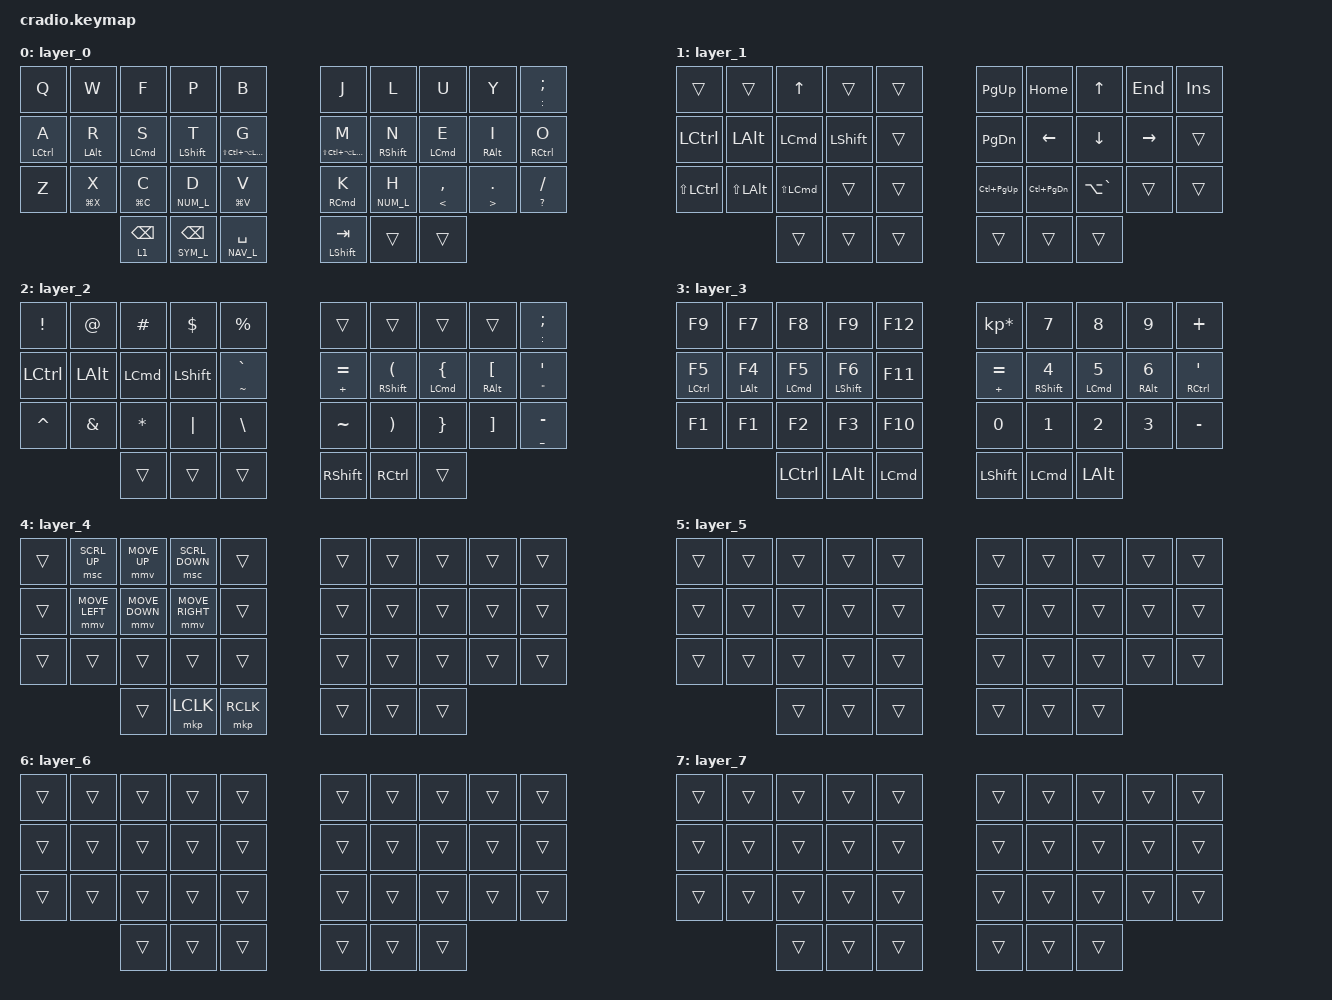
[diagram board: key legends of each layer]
/*
 * Copyright (c) 2020 The ZMK Contributors
 *
 * SPDX-License-Identifier: MIT
 */
#include <dt-bindings/zmk/mouse.h>
#include <behaviors.dtsi>
#include <dt-bindings/zmk/bt.h>
#include <dt-bindings/zmk/keys.h>
#include <dt-bindings/zmk/outputs.h>

#define BASE_L 0
#define NAV_L  1
#define SYM_L  2
#define NUM_L  3

// hyper and meh keys
#define HYP LS(LC(LA(LGUI)))
#define MEH LS(LC(LALT))

&mt {
    tapping-term-ms = <180>;
    flavor = "tap-preferred";
};

&sk {
    release-after-ms = <2000>;
    quick-release;
};

/ {
    combos {
        compatible = "zmk,combos";

        combo_esc {
            key-positions = <1 2>;
            timeout-ms = <50>;
            bindings = <&kp ESC>;
            layers = <BASE_L>;
        };

        combo_enter {
            key-positions = <27 28>;
            timeout-ms = <50>;
            bindings = <&kp ENTER>;
            layers = <BASE_L>;
        };

        combo_chord {
            key-positions = <11 12>;
            timeout-ms = <50>;
            bindings = <&kp LG(SPACE)>;
            layers = <BASE_L>;
        };

        // left_bkt {
        //     bindings = <&kp LBKT>;
        //     key-positions = <3 2>;
        //     timeout-ms = <50>;
        // };

        // right_bkt {
        //     bindings = <&kp RBKT>;
        //     key-positions = <6 7>;
        //     timeout-ms = <50>;
        // };

        // left_par {
        //     bindings = <&kp LEFT_PARENTHESIS>;
        //     key-positions = <12 13>;
        //     timeout-ms = <50>;
        // };

        // right_par {
        //     bindings = <&kp RIGHT_PARENTHESIS>;
        //     key-positions = <16 17>;
        //     timeout-ms = <50>;
        // };

        // left_brace {
        //     bindings = <&kp LEFT_BRACE>;
        //     key-positions = <23 22>;
        //     timeout-ms = <50>;
        // };

        // right_brace {
        //     bindings = <&kp RIGHT_BRACE>;
        //     key-positions = <26 27>;
        //     timeout-ms = <50>;
        // };

        // bac {
        //     bindings = <&kp BACKSLASH>;
        //     key-positions = <4 5>;
        // };

        // pipe {
        //     bindings = <&kp PIPE>;
        //     key-positions = <14 15>;
        // };
    };

    behaviors {
        hm: homerow_mods {
            compatible = "zmk,behavior-hold-tap";
            label = "HOMEROW_MODS";
            #binding-cells = <2>;
            tapping-term-ms = <180>;
            quick_tap_ms = <0>;
            flavor = "tap-preferred";
            bindings = <&kp>, <&kp>;

            quick-tap-ms = <180>;
            global-quick-tap;
        };

        ltq: ltq {
            compatible = "zmk,behavior-hold-tap";
            label = "LTQ";
            #binding-cells = <2>;
            tapping-term-ms = <180>;
            quick_tap_ms = <0>;
            flavor = "hold-preferred";
            bindings = <&mo>, <&kp>;

            quick-tap-ms = <180>;
            global-quick-tap;
        };

        as: as {
            compatible = "zmk,behavior-hold-tap";
            label = "AUTO_SHIFT";
            bindings = <&kp>, <&kp>;

            #binding-cells = <2>;
            tapping-term-ms = <135>;
            quick-tap-ms = <0>;
            flavor = "tap-preferred";
        };
    };

    keymap {
        compatible = "zmk,keymap";

        layer_0 {
            bindings = <
&kp Q          &kp W          &kp F         &kp P           &kp B                     &kp J          &kp L              &kp U                  &kp Y                    &as COLON SEMICOLON
&hm LCTRL A    &hm LALT R     &hm LCMD S    &hm LSHIFT T    &hm HYP G                 &hm HYP M      &hm RIGHT_SHIFT N  &hm LCMD E             &hm RIGHT_ALT I          &hm RCTRL O
&kp Z          &mt LG(X) X    &mt LG(C) C   &lt NUM_L D     &mt LG(V) V               &hm RCMD K     &lt NUM_L H        &as LESS_THAN COMMA    &as GREATER_THAN PERIOD  &as QUESTION SLASH
        &ltq 1 BACKSPACE      &lt SYM_L BACKSPACE    &lt NAV_L SPACE                  &mt LSHIFT TAB     &trans  &trans
            >;
        };

        layer_1{
            bindings = <
&trans        &trans         &kp UP           &trans      &trans             &kp PG_UP        &kp HOME        &kp UP          &kp END     &kp INSERT
&kp LCTRL     &kp LALT       &kp LCMD         &kp LSHIFT  &trans             &kp PG_DN        &kp LEFT        &kp DOWN        &kp RIGHT   &trans
&kp LS(LCTRL) &kp LS(LALT)   &kp LS(LCMD)     &trans      &trans             &kp LC(PG_UP)    &kp LC(PG_DN)   &kp LA(GRAVE)   &trans      &trans
                         &trans       &trans      &trans             &trans           &trans          &trans
            >;
        };

        layer_2 {
            bindings = <
&kp EXCLAMATION    &kp AT_SIGN     &kp HASH   &kp DOLLAR   &kp PERCENT               &trans             &trans          &trans        &trans        &as COLON SEMICOLON
&kp LCTRL          &kp LALT        &kp LCMD   &kp LSHIFT   &as TILDE GRAVE           &as PLUS EQUAL     &hm RSHFT LPAR  &hm LCMD LBRC &hm RALT LBKT &as DOUBLE_QUOTES SINGLE_QUOTE
&kp CARET          &kp AMPERSAND   &kp ASTRK  &kp PIPE     &kp BACKSLASH             &kp TILDE          &kp RPAR        &kp RBRC      &kp RBKT      &as UNDER MINUS
                   &trans                &trans            &trans                    &kp RIGHT_SHIFT    &kp RCTRL       &trans
            >;
        };

        layer_3 {
            bindings = <
&kp F9        &kp F7      &kp F8      &kp F9       &kp F12                         &kp KP_ASTERISK     &kp NUMBER_7        &kp NUMBER_8      &kp NUMBER_9      &kp PLUS
&hm LCTRL F5  &hm LALT F4 &hm LCMD F5 &hm LSHFT F6 &kp F11                         &as PLUS EQUAL      &hm RSHFT NUMBER_4  &hm LCMD NUMBER_5 &hm RALT NUMBER_6 &hm RCTRL SINGLE_QUOTE
&kp F1        &kp F1      &kp F2      &kp F3       &kp F10                         &kp NUMBER_0        &kp NUMBER_1        &kp NUMBER_2      &kp NUMBER_3      &kp MINUS
                          &kp LCTRL   &kp LALT     &kp LCMD                        &kp LSHIFT          &kp LCMD            &kp LALT
            >;
        };

        layer_4 {
            bindings = <
&trans          &msc SCRL_UP   &mmv MOVE_UP  &msc SCRL_DOWN  &trans  &trans          &trans  &trans  &trans  &trans
&trans          &mmv MOVE_LEFT  &mmv MOVE_DOWN  &mmv MOVE_RIGHT  &trans  &trans          &trans  &trans  &trans  &trans
&trans          &trans          &trans          &trans  &trans  &trans          &trans  &trans  &trans  &trans
        &trans          &mkp LCLK  &mkp RCLK         &trans  &trans  &trans
            >;
        };

        layer_5 {
            bindings = <
&trans          &trans          &trans          &trans  &trans  &trans          &trans  &trans  &trans  &trans
&trans          &trans          &trans          &trans  &trans  &trans          &trans  &trans  &trans  &trans
&trans          &trans          &trans          &trans  &trans  &trans          &trans  &trans  &trans  &trans
        &trans          &trans          &trans          &trans  &trans  &trans
            >;
        };

        layer_6 {
            bindings = <
&trans          &trans          &trans          &trans  &trans  &trans          &trans  &trans  &trans  &trans
&trans          &trans          &trans          &trans  &trans  &trans          &trans  &trans  &trans  &trans
&trans          &trans          &trans          &trans  &trans  &trans          &trans  &trans  &trans  &trans
        &trans          &trans          &trans          &trans  &trans  &trans
            >;
        };

        layer_7 {
            bindings = <
&trans          &trans          &trans          &trans  &trans  &trans          &trans  &trans  &trans  &trans
&trans          &trans          &trans          &trans  &trans  &trans          &trans  &trans  &trans  &trans
&trans          &trans          &trans          &trans  &trans  &trans          &trans  &trans  &trans  &trans
        &trans          &trans          &trans          &trans  &trans  &trans
            >;
        };
    };
};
